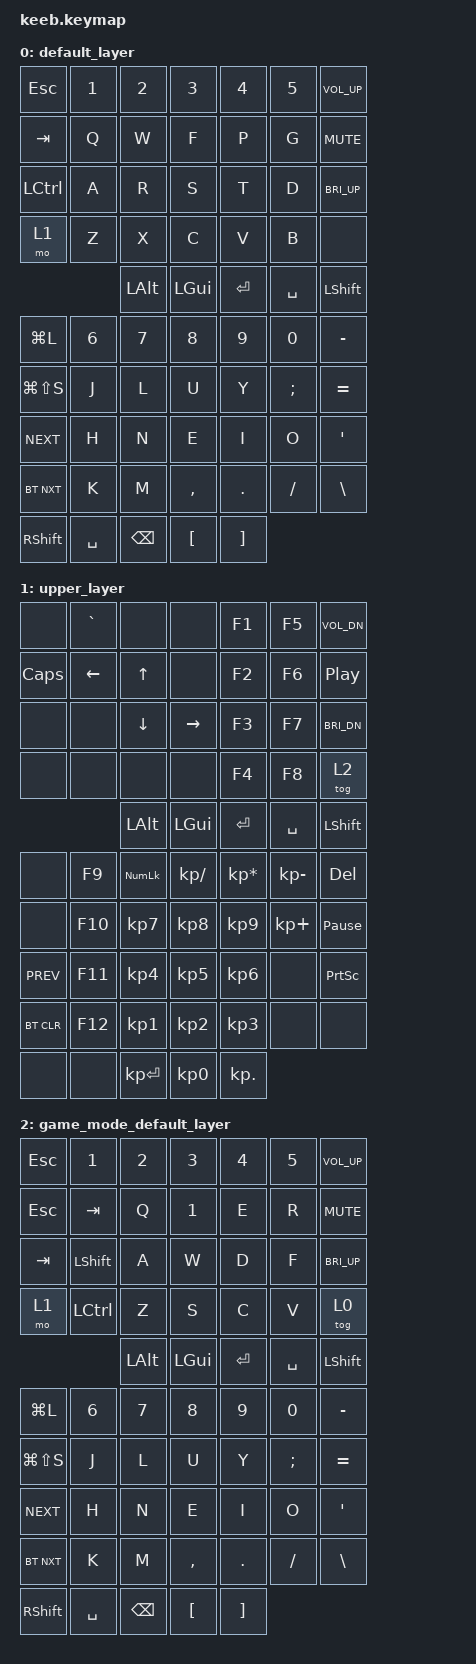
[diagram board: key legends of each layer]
#include <behaviors.dtsi>
#include <dt-bindings/zmk/keys.h>
#include <dt-bindings/zmk/bt.h>

#define default_layer 0
#define upper_layer 1
#define game_mode_default_layer 2

/ {
        keymap {
                compatible = "zmk,keymap";
                default_layer {
                        bindings = <
    &kp ESC        &kp N1     &kp N2        &kp N3        &kp N4           &kp N5     &kp C_VOL_UP
    &kp TAB        &kp Q      &kp W         &kp F         &kp P            &kp G      &kp C_MUTE
    &kp LCTRL      &kp A      &kp R         &kp S         &kp T            &kp D      &kp C_BRI_UP
    &mo 1          &kp Z      &kp X         &kp C         &kp V            &kp B      &none
                              &kp LALT      &kp LGUI      &kp RET          &kp SPACE  &kp LSHFT

    &kp LG(L)      &kp N6     &kp N7        &kp N8        &kp N9           &kp N0     &kp MINUS
    &kp LG(LS(S))  &kp J      &kp L         &kp U         &kp Y            &kp SEMI   &kp EQUAL
    &kp C_NEXT     &kp H      &kp N         &kp E         &kp I            &kp O      &kp SQT
    &bt BT_NXT     &kp K      &kp M         &kp COMMA     &kp DOT          &kp FSLH   &kp BSLH
    &kp RSHFT      &kp SPACE  &kp BSPC      &kp LBKT      &kp RBKT
                        >;
                };
                upper_layer {
                        bindings = <
    &none          &kp GRAVE  &none         &none         &kp F1           &kp F5     &kp C_VOL_DN
    &kp CAPS       &kp LEFT   &kp UP        &none         &kp F2           &kp F6     &kp C_PP
    &none          &none      &kp DOWN      &kp RIGHT     &kp F3           &kp F7     &kp C_BRI_DN
    &none          &none      &none         &none         &kp F4           &kp F8     &tog 2
                              &kp LALT      &kp LGUI      &kp RET          &kp SPACE  &kp LSHFT

    &none          &kp F9     &kp KP_NUM    &kp KP_SLASH  &kp KP_MULTIPLY  &kp KP_MINUS &kp DEL
    &none          &kp F10    &kp KP_N7     &kp KP_N8     &kp KP_N9        &kp KP_PLUS  &kp PAUSE_BREAK
    &kp C_PREV     &kp F11    &kp KP_N4     &kp KP_N5     &kp KP_N6        &none      &kp PSCRN
    &bt BT_CLR     &kp F12    &kp KP_N1     &kp KP_N2     &kp KP_N3        &none      &none
    &none          &none      &kp KP_ENTER  &kp KP_N0     &kp KP_DOT
                        >;
                };
                game_mode_default_layer {
                        bindings = <
    &kp ESC        &kp N1     &kp N2        &kp N3        &kp N4           &kp N5     &kp C_VOL_UP
    &kp ESC        &kp TAB    &kp Q         &kp N1        &kp E            &kp R      &kp C_MUTE
    &kp TAB        &kp LSHFT  &kp A         &kp W         &kp D            &kp F      &kp C_BRI_UP
    &mo 1          &kp LCTRL  &kp Z         &kp S         &kp C            &kp V      &tog 0
                              &kp LALT      &kp LGUI      &kp RET          &kp SPACE  &kp LSHFT

    &kp LG(L)      &kp N6     &kp N7        &kp N8        &kp N9           &kp N0     &kp MINUS
    &kp LG(LS(S))  &kp J      &kp L         &kp U         &kp Y            &kp SEMI   &kp EQUAL
    &kp C_NEXT     &kp H      &kp N         &kp E         &kp I            &kp O      &kp SQT
    &bt BT_NXT     &kp K      &kp M         &kp COMMA     &kp DOT          &kp FSLH   &kp BSLH
    &kp RSHFT      &kp SPACE  &kp BSPC      &kp LBKT      &kp RBKT
                        >;
                };
        };
};

